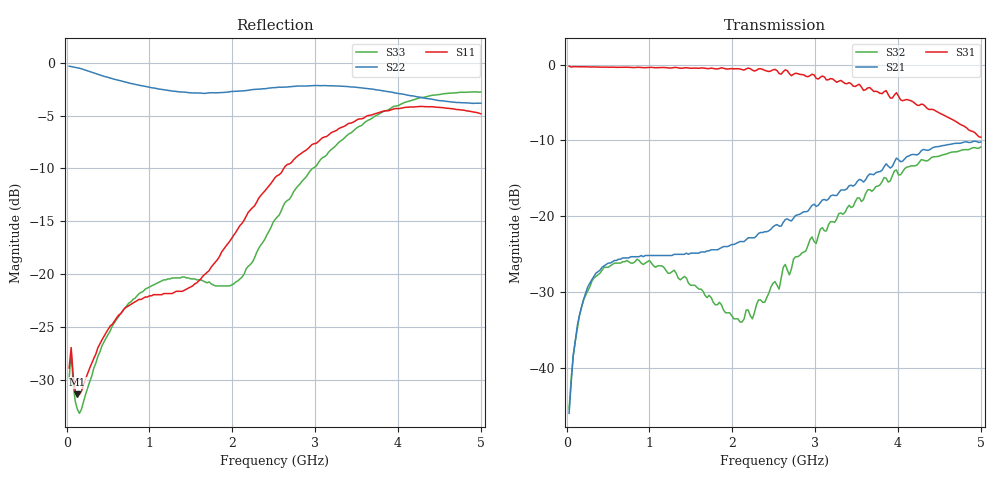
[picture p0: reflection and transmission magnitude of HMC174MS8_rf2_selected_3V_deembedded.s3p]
!Hittite Microwave Corporation
!12 Elizabeth Drive
!Chelmsford, MA 01824
!Tel: 978-250-3343
!Fax: 978-250-3373
!Device: HMC174MS8, DC - 3 GHz T/R Switch in 8-lead MSOP package
!Misc: Port1=RFC, Port2= RF1, Port3=RF2, RF2 ON, Bias: +3VDC
# MHZ S MA R 50
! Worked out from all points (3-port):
!   201 points, 30 MHz to 5 GHz, reference 50 ohm
!   strongest paths, dB at 30 MHz, 1.272 GHz, 2.515 GHz, 3.757 GHz, 5 GHz:
!     S31: -0.2, -0.4, -0.6, -3.6, -9.6
!     S21: -46.0, -25.2, -21.2, -14.2, -10.2
!     S32: -45.5, -27.3, -28.6, -16.0, -10.8
!   lowest |S11| = -31.4 dB at 129.4 MHz (marker M1), VSWR 1.06, Z = 48.1 - j1.84 ohm
!   |S11| at or under -10 dB: start of sweep to 2.622 GHz
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30  0.036 -124.3  0.004963 65.8  0.979 0.1
    0.00499 65.8  0.962 -10.2  0.005326 61.2
    0.979 0.0  0.005335 60.2  0.032 -110.5
129.4  0.027 -134.8  0.019 67.2  0.97 -4.0
       0.019 67.5  0.945 -40.8  0.018 65.6
       0.97 -3.9  0.018 65.4  0.023 -118.4
353.05  0.042 -132.8  0.042 45.8  0.967 -10.9
        0.042 46.1  0.887 -98.6  0.04 40.2
        0.967 -10.9  0.04 39.7  0.038 -108.5
825.2  0.074 -154.3  0.055 26.3  0.959 -24.5
       0.054 24.7  0.789 -174.1  0.05 10.3
       0.959 -24.6  0.05 11.7  0.077 -111.5
1595.55  0.093 128.0  0.058 23.9  0.949 -48.2
         0.057 23.4  0.718 101.4  0.033 -7.7
         0.948 -48.2  0.033 -6.8  0.094 -142.4
2117.4  0.174 70.2  0.065 32.4  0.93 -66.2
        0.068 29.1  0.735 53.3  0.021 27.3
        0.929 -66.0  0.02 29.1  0.097 148.7
2515  0.286 39.4  0.088 28.0  0.918 -79.7
      0.087 31.9  0.762 23.4  0.035 63.9
      0.932 -80.6  0.037 57.4  0.181 90.2
3782.35  0.583 -38.8  0.201 14.1  0.652 -127.0
         0.197 12.2  0.74 -53.6  0.158 39.6
         0.648 -126.1  0.161 43.0  0.575 9.8
4428.45  0.618 -89.2  0.288 -17.0  0.501 -147.4
         0.285 -15.9  0.669 -97.1  0.24 10.8
         0.505 -147.2  0.247 10.0  0.702 -32.9
5000  0.573 -144.2  0.312 -46.5  0.331 -159.8
      0.309 -45.0  0.643 -137.6  0.284 -17.0
      0.332 -159.6  0.287 -17.7  0.727 -79.9
